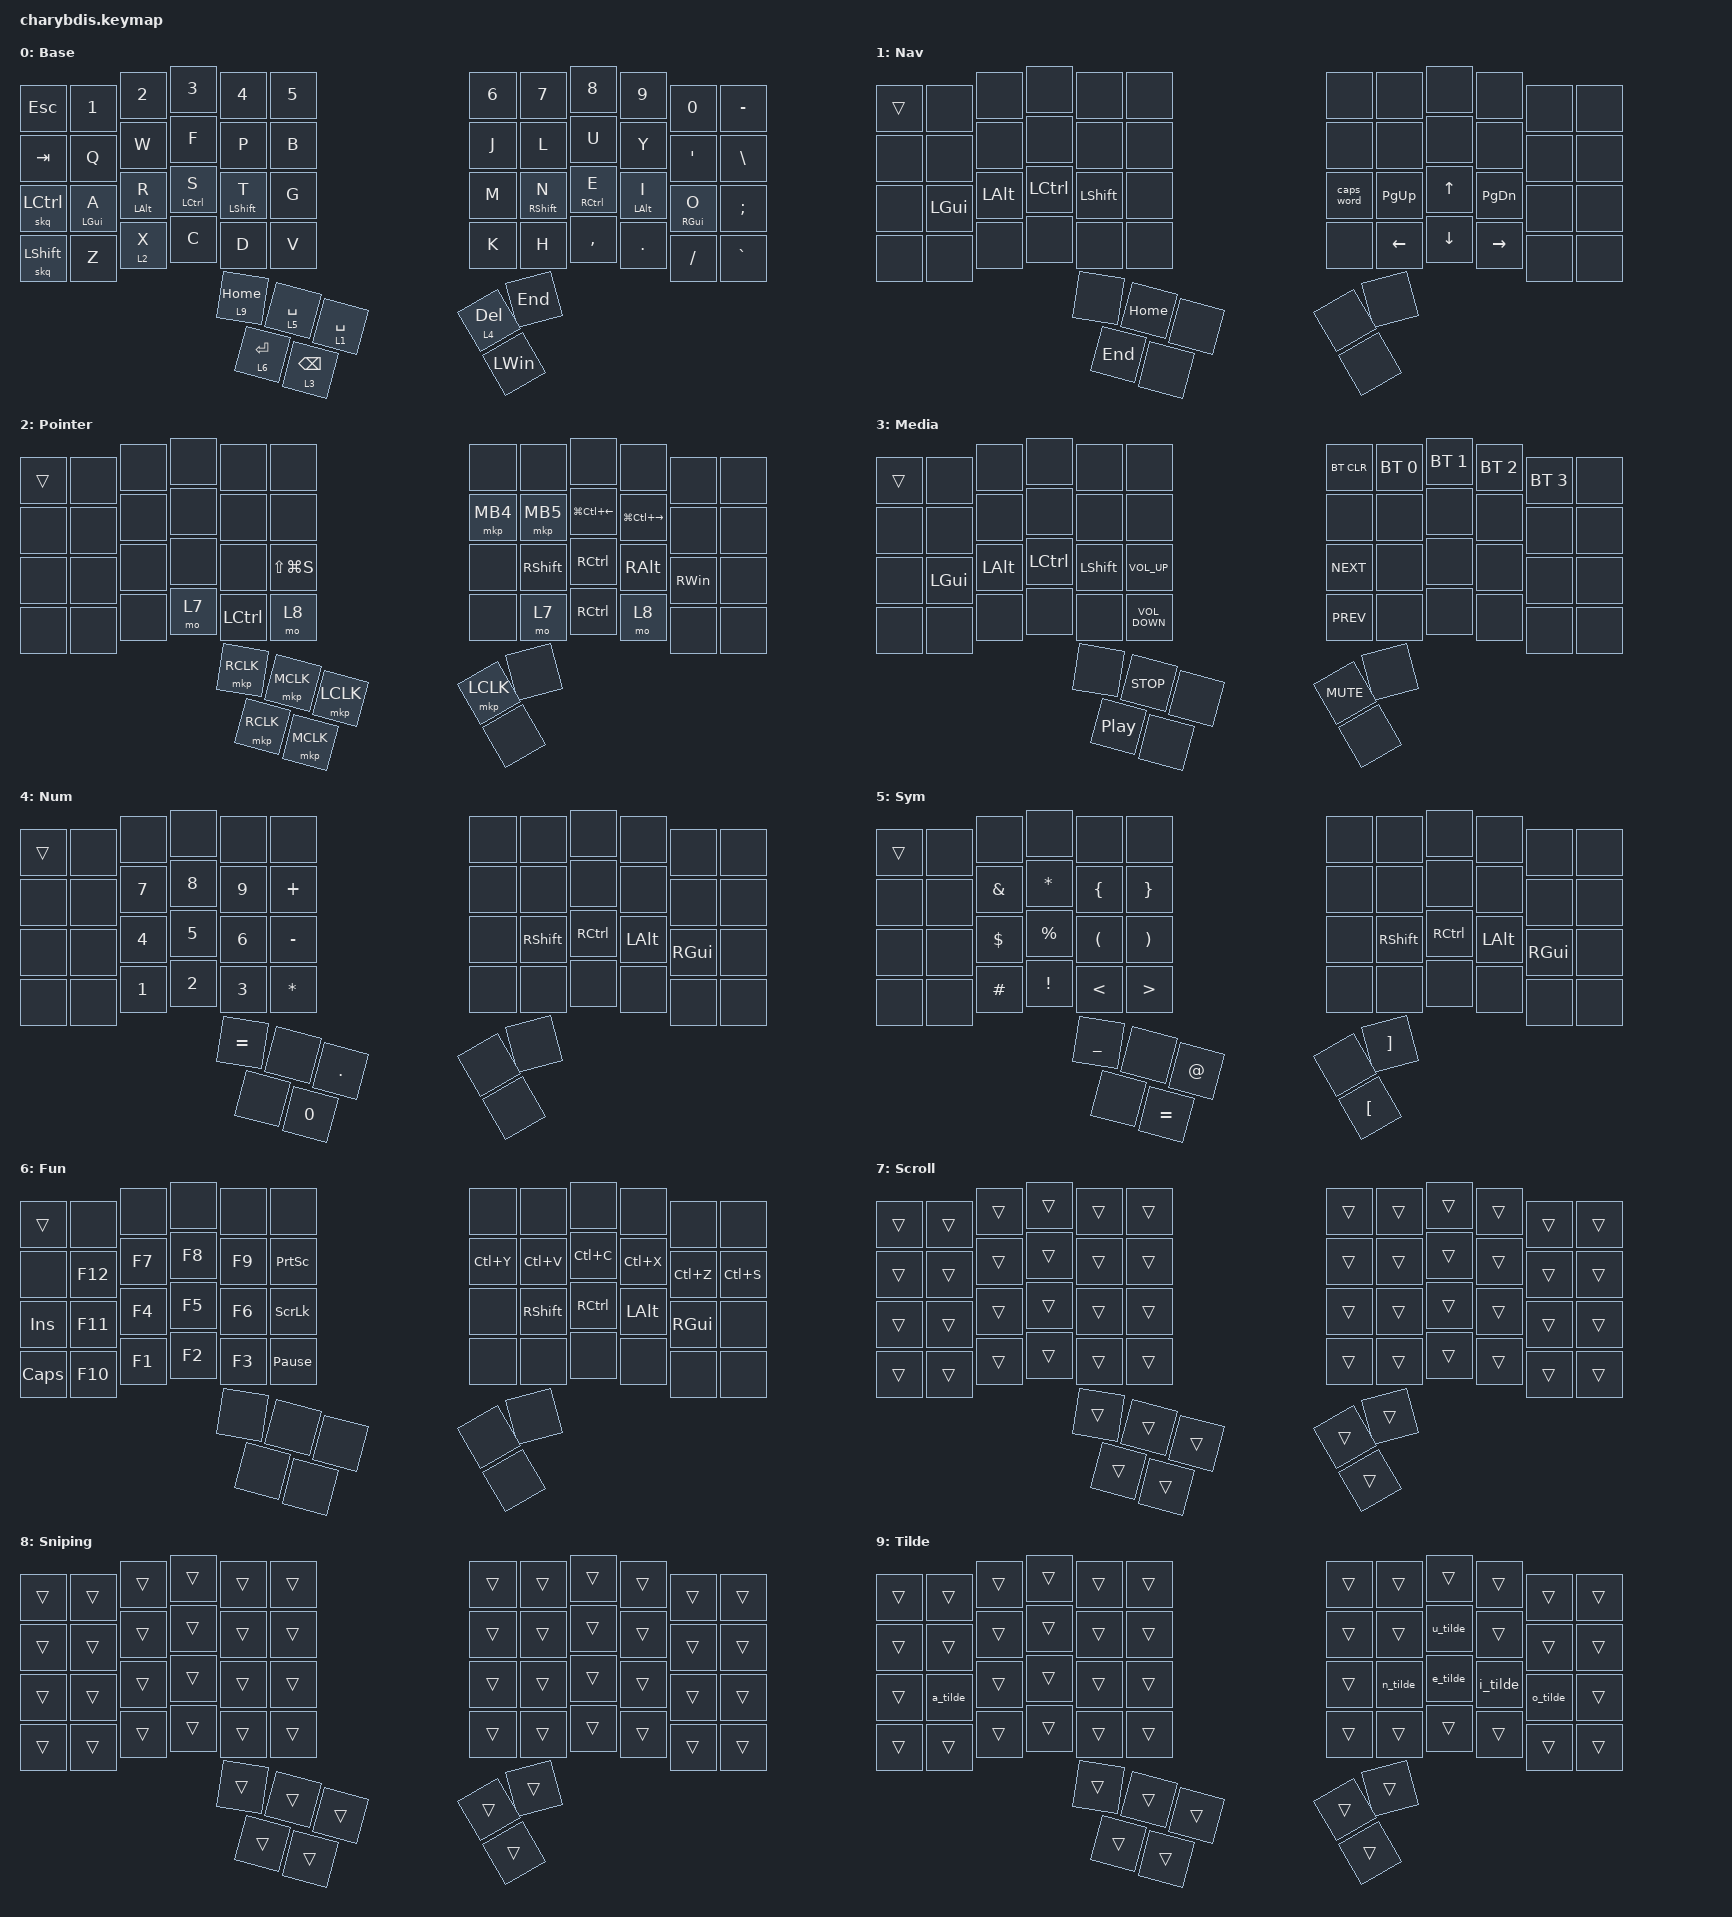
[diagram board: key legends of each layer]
#include <dt-bindings/zmk/mouse.h>
#include <behaviors/mouse_keys.dtsi>
#include <dt-bindings/zmk/modifiers.h>
#include <behaviors.dtsi>
#include <dt-bindings/zmk/bt.h>
#include <dt-bindings/zmk/keys.h>
#include <dt-bindings/zmk/pointing.h>

/ {
    chosen { zmk,physical-layout = &charybdis_6col_layout; };
};

// ╔══════════════════════════════════════════════════════════════════════════════╗
// ║ CONFIGURATION                                                               ║
// ╚══════════════════════════════════════════════════════════════════════════════╝

&lt {
    quick-tap-ms = <175>;
    flavor = "balanced";
    tapping-term-ms = <200>;
};

// Layer definitions (must match charybdis_layers.h for trackball processors)

#define BASE    0
#define NAV     1
#define POINTER 2
#define MEDIA   3
#define NUM     4
#define SYM     5
#define FUN     6
#define SCROLL  7
#define SNIPING 8

// ╔══════════════════════════════════════════════════════════════════════════════╗
// ║ BEHAVIORS                                                                   ║
// ╚══════════════════════════════════════════════════════════════════════════════╝

/ {
    behaviors {
        // Home row mods - Left hand (for Shift on T)

        hml: home_row_mod_left {
            compatible = "zmk,behavior-hold-tap";
            #binding-cells = <2>;
            flavor = "balanced";
            require-prior-idle-ms = <200>;
            tapping-term-ms = <280>;
            quick-tap-ms = <175>;
            bindings = <&kp>, <&kp>;

            hold-trigger-key-positions = <0 1 2 3 4 5 12 13 14 15 16 17 24 25 26 27 28 29 36 37 38 39 40 41 48 49 50 53 54>;
            hold-trigger-on-release;
        };

        // Home row mods - Right hand (for Shift on N)

        hmr: home_row_mod_right {
            compatible = "zmk,behavior-hold-tap";
            #binding-cells = <2>;
            flavor = "balanced";
            require-prior-idle-ms = <200>;
            tapping-term-ms = <280>;
            quick-tap-ms = <175>;
            bindings = <&kp>, <&kp>;

            hold-trigger-key-positions = <6 7 8 9 10 11 18 19 20 21 22 23 30 31 32 33 34 35 42 43 44 45 46 47 51 52 55>;
            hold-trigger-on-release;
        };

        // Left home row - relaxed timing for high-frequency keys (A, R, S)

        lhome_row: lhome_row {
            compatible = "zmk,behavior-hold-tap";
            #binding-cells = <2>;
            flavor = "balanced";
            require-prior-idle-ms = <150>;
            tapping-term-ms = <200>;
            quick-tap-ms = <200>;
            bindings = <&kp>, <&kp>;

            hold-trigger-key-positions = <0 1 2 3 4 5 12 13 14 15 16 17 24 25 26 27 28 29 36 37 38 39 40 41 48 49 50 53 54>;
            hold-trigger-on-release;
            retro-tap;
            label = "LHOME_ROW";
        };

        // Right home row - relaxed timing for high-frequency keys (E, I, O)

        rhome_row: rhome_row {
            compatible = "zmk,behavior-hold-tap";
            #binding-cells = <2>;
            flavor = "balanced";
            require-prior-idle-ms = <150>;
            tapping-term-ms = <200>;
            quick-tap-ms = <200>;
            bindings = <&kp>, <&kp>;

            hold-trigger-key-positions = <6 7 8 9 10 11 18 19 20 21 22 23 30 31 32 33 34 35 42 43 44 45 46 47 51 52 55>;
            hold-trigger-on-release;
            retro-tap;
            label = "RHOME_ROW";
        };

        skq: skq {
            compatible = "zmk,behavior-sticky-key";
            label = "SKQ";
            bindings = <&kp>;
            #binding-cells = <1>;
            release-after-ms = <1020>;
            quick-release;
            ignore-modifiers;
        };
    };

    // ╔══════════════════════════════════════════════════════════════════════════════╗
    // ║ COMBOS                                                                      ║
    // ╚══════════════════════════════════════════════════════════════════════════════╝

    combos {
        compatible = "zmk,combos";

        // Studio Unlock - all three right thumb keys

        combo_studio_unlock {
            timeout-ms = <50>;
            key-positions = <53 54 55>;
            bindings = <&studio_unlock>;
        };

        // C# operator combos
        // Row 3 (bottom): 36=Z 37=X 38=C 39=D 40=V | 41=K 42=H 43=, 44=. 45=/
        // Row 2 (home):   24=A 25=R 26=S 27=T 28=G | 29=M 30=N 31=E 32=I 33=O
        // => (fat arrow) - D + V (left bottom, index + inner)

        combo_fat_arrow {
            timeout-ms = <40>;
            key-positions = <40 41>;
            bindings = <&fat_arrow>;
        };

        // != (not equal) - H + , (right bottom, index + middle)

        combo_not_equal {
            timeout-ms = <40>;
            key-positions = <42 43>;
            bindings = <&not_equal>;
        };

        // == (double equal) - N + E (right home, index + middle)

        combo_dbl_equal {
            timeout-ms = <40>;
            key-positions = <30 31>;
            bindings = <&dbl_equal>;
        };

        // && (logical AND) - X + C (left bottom, ring + middle)
        // || (logical OR) - , + . (right bottom, middle + ring)
        // ?. (null-conditional) - . + / (right bottom, ring + pinky)
        // ?? (null-coalescing) - I + O (right home, ring + pinky)
        // // (line comment) - C + D (left bottom, middle + index)
        // CAPSLOCK - both home row shift keys (T + N)
    };

    // ╔══════════════════════════════════════════════════════════════════════════════╗
    // ║ KEYMAP                                                                      ║
    // ╚══════════════════════════════════════════════════════════════════════════════╝

    macros {
        pound: pound {
            compatible = "zmk,behavior-macro";
            #binding-cells = <0>;
            bindings =
                <&macro_press>,
                <&kp LEFT_ALT>,
                <&macro_tap>,
                <&kp KP_NUMBER_0 &kp KP_NUMBER_1 &kp KP_NUMBER_6 &kp KP_NUMBER_3>,
                <&macro_release>,
                <&kp LEFT_ALT>;

            label = "POUND";
        };

        euro: euro {
            compatible = "zmk,behavior-macro";
            #binding-cells = <0>;
            bindings =
                <&macro_press>,
                <&kp LEFT_ALT>,
                <&macro_tap>,
                <&kp KP_NUMBER_0 &kp KP_NUMBER_1 &kp KP_NUMBER_2 &kp KP_NUMBER_8>,
                <&macro_release>,
                <&kp LEFT_ALT>;

            label = "EURO";
        };

        // C# operator macros

        fat_arrow: fat_arrow {
            compatible = "zmk,behavior-macro";
            #binding-cells = <0>;
            bindings = <&kp EQUAL &kp GT>;
            label = "FAT_ARROW";
        };

        not_equal: not_equal {
            compatible = "zmk,behavior-macro";
            #binding-cells = <0>;
            bindings = <&kp EXCL &kp EQUAL>;
            label = "NOT_EQUAL";
        };

        dbl_equal: dbl_equal {
            compatible = "zmk,behavior-macro";
            #binding-cells = <0>;
            bindings = <&kp EQUAL &kp EQUAL>;
            label = "DBL_EQUAL";
        };

        a_tilde: a_tilde {
            compatible = "zmk,behavior-macro";
            #binding-cells = <0>;
            bindings =
                <&macro_press>,
                <&kp LEFT_ALT>,
                <&macro_tap>,
                <&kp KP_NUMBER_1 &kp KP_NUMBER_6 &kp KP_NUMBER_0>,
                <&macro_release>,
                <&kp LEFT_ALT>;

            label = "A_TILDE";
        };

        e_tilde: e_tilde {
            compatible = "zmk,behavior-macro";
            #binding-cells = <0>;
            bindings =
                <&macro_press>,
                <&kp LEFT_ALT>,
                <&macro_tap>,
                <&kp KP_NUMBER_1 &kp KP_NUMBER_3 &kp KP_NUMBER_0>,
                <&macro_release>,
                <&kp LEFT_ALT>;

            label = "E_TILDE";
        };

        i_tilde: i_tilde {
            compatible = "zmk,behavior-macro";
            #binding-cells = <0>;
            bindings =
                <&macro_press>,
                <&kp LEFT_ALT>,
                <&macro_tap>,
                <&kp KP_NUMBER_1 &kp KP_NUMBER_6 &kp KP_NUMBER_1>,
                <&macro_release>,
                <&kp LEFT_ALT>;

            label = "I_TILDE";
        };

        o_tilde: o_tilde {
            compatible = "zmk,behavior-macro";
            #binding-cells = <0>;
            bindings =
                <&macro_press>,
                <&kp LEFT_ALT>,
                <&macro_tap>,
                <&kp KP_NUMBER_1 &kp KP_NUMBER_6 &kp KP_NUMBER_2>,
                <&macro_release>,
                <&kp LEFT_ALT>;

            label = "O_TILDE";
        };

        u_tilde: u_tilde {
            compatible = "zmk,behavior-macro";
            #binding-cells = <0>;
            bindings =
                <&macro_press>,
                <&kp LEFT_ALT>,
                <&macro_tap>,
                <&kp KP_NUMBER_1 &kp KP_NUMBER_6 &kp KP_NUMBER_3>,
                <&macro_release>,
                <&kp LEFT_ALT>;

            label = "U_TILDE";
        };

        n_tilde: n_tilde {
            compatible = "zmk,behavior-macro";
            #binding-cells = <0>;
            bindings =
                <&macro_press>,
                <&kp LEFT_ALT>,
                <&macro_tap>,
                <&kp KP_NUMBER_1 &kp KP_NUMBER_6 &kp KP_NUMBER_4>,
                <&macro_release>,
                <&kp LEFT_ALT>;

            label = "N_TILDE";
        };
    };

    keymap {
        compatible = "zmk,keymap";

        // ┌──────────────────────────────────────────────────────────────────────┐
        // │ BASE - Colemak-DH with home row mods (GACS)                          │
        // │ Unused keys (top row + outer columns) available for extras            │
        // └──────────────────────────────────────────────────────────────────────┘

        base_layer {
            display-name = "Base";
            bindings = <
&kp ESC     &kp N1             &kp N2             &kp N3              &kp N4              &kp N5        &kp N6        &kp N7              &kp N8              &kp N9             &kp N0             &kp MINUS
&kp TAB     &kp Q              &kp W              &kp F               &kp P               &kp B         &kp J         &kp L               &kp U               &kp Y              &kp SQT            &kp BACKSLASH
&skq LCTRL  &lhome_row LGUI A  &lhome_row LALT R  &lhome_row LCTRL S  &lhome_row LSHFT T  &kp G         &kp M         &rhome_row RSHFT N  &rhome_row RCTRL E  &rhome_row LALT I  &rhome_row RGUI O  &kp SEMI
&skq LSHFT  &kp Z              &lt 2 X            &kp C               &kp D               &kp V         &kp K         &kp H               &kp COMMA           &kp DOT            &kp FSLH           &kp GRAVE
                                                  &lt 1 SPACE         &lt 3 BACKSPACE     &lt 9 HOME    &lt 5 SPACE   &lt 6 RET
                                                                      &kp LWIN            &kp END       &lt 4 DELETE
            >;
        };

        // ┌──────────────────────────────────────────────────────────────────────┐
        // │ NAV - Navigation + editing                                            │
        // └──────────────────────────────────────────────────────────────────────┘

        nav_layer {
            display-name = "Nav";
            bindings = <
&trans  &none     &none     &none      &none       &none    &none       &none      &none     &none      &none  &none
&none   &none     &none     &none      &none       &none    &none       &none      &none     &none      &none  &none
&none   &kp LGUI  &kp LALT  &kp LCTRL  &kp LSHIFT  &none    &caps_word  &kp PG_UP  &kp UP    &kp PG_DN  &none  &none
&none   &none     &none     &none      &none       &none    &none       &kp LEFT   &kp DOWN  &kp RIGHT  &none  &none
                            &none      &none       &none    &kp HOME    &kp END
                                       &none       &none    &none
            >;
        };

        // ┌──────────────────────────────────────────────────────────────────────┐
        // │ POINTER - Mouse buttons + trackball (scroll/snipe via held layers)    │
        // └──────────────────────────────────────────────────────────────────────┘

        pointer_layer {
            display-name = "Pointer";
            bindings = <
&trans  &none  &none  &none      &none      &none            &none      &none       &none             &none              &none     &none
&none   &none  &none  &none      &none      &none            &mkp MB4   &mkp MB5    &kp LG(LC(LEFT))  &kp LG(LC(RIGHT))  &none     &none
&none   &none  &none  &none      &none      &kp LS(LG(S))    &none      &kp RSHIFT  &kp RCTRL         &kp RALT           &kp RWIN  &none
&none   &none  &none  &mo 7      &kp LCTRL  &mo 8            &none      &mo 7       &kp RCTRL         &mo 8              &none     &none
                      &mkp LCLK  &mkp MCLK  &mkp RCLK        &mkp MCLK  &mkp RCLK
                                 &none      &none            &mkp LCLK
            >;
        };

        // ┌──────────────────────────────────────────────────────────────────────┐
        // │ MEDIA - Media controls + Bluetooth                                    │
        // └──────────────────────────────────────────────────────────────────────┘

        media_layer {
            display-name = "Media";
            bindings = <
&trans  &none     &none     &none      &none       &none                &bt BT_CLR  &bt BT_SEL 0      &bt BT_SEL 1  &bt BT_SEL 2  &bt BT_SEL 3  &none
&none   &none     &none     &none      &none       &none                &none       &none             &none         &none         &none         &none
&none   &kp LGUI  &kp LALT  &kp LCTRL  &kp LSHIFT  &kp C_VOLUME_UP      &kp C_NEXT  &none             &none         &none         &none         &none
&none   &none     &none     &none      &none       &kp C_VOLUME_DOWN    &kp C_PREV  &none             &none         &none         &none         &none
                            &none      &none       &none                &kp C_STOP  &kp C_PLAY_PAUSE
                                       &none       &none                &kp C_MUTE
            >;
        };

        // ┌──────────────────────────────────────────────────────────────────────┐
        // │ NUM - Number pad                                                      │
        // └──────────────────────────────────────────────────────────────────────┘

        num_layer {
            display-name = "Num";
            bindings = <
&trans  &none  &none   &none    &none   &none        &none  &none       &none      &none     &none     &none
&none   &none  &kp N7  &kp N8   &kp N9  &kp PLUS     &none  &none       &none      &none     &none     &none
&none   &none  &kp N4  &kp N5   &kp N6  &kp MINUS    &none  &kp RSHIFT  &kp RCTRL  &kp LALT  &kp RGUI  &none
&none   &none  &kp N1  &kp N2   &kp N3  &kp ASTRK    &none  &none       &none      &none     &none     &none
                       &kp DOT  &kp N0  &kp EQUAL    &none  &none
                                &none   &none        &none
            >;
        };

        // ┌──────────────────────────────────────────────────────────────────────┐
        // │ SYM - C# optimized: brackets paired on index finger                   │
        // │ Top=braces, Home=parens, Bottom=angles. = on thumb for assignment.    │
        // └──────────────────────────────────────────────────────────────────────┘

        sym_layer {
            display-name = "Sym";
            bindings = <
&trans  &none  &none     &none      &none             &none                &none  &none       &none      &none     &none     &none
&none   &none  &kp AMPS  &kp ASTRK  &kp LBRC          &kp RBRC             &none  &none       &none      &none     &none     &none
&none   &none  &kp DLLR  &kp PRCNT  &kp LPAR          &kp RPAR             &none  &kp RSHIFT  &kp RCTRL  &kp LALT  &kp RGUI  &none
&none   &none  &kp HASH  &kp EXCL   &kp LT            &kp GT               &none  &none       &none      &none     &none     &none
                         &kp AT     &kp EQUAL         &kp UNDER            &none  &none
                                    &kp LEFT_BRACKET  &kp RIGHT_BRACKET    &none
            >;
        };

        // ┌──────────────────────────────────────────────────────────────────────┐
        // │ FUN - Function keys                                                   │
        // └──────────────────────────────────────────────────────────────────────┘

        fun_layer {
            display-name = "Fun";
            bindings = <
&trans    &none    &none   &none   &none   &none              &none      &none       &none      &none      &none      &none
&none     &kp F12  &kp F7  &kp F8  &kp F9  &kp PSCRN          &kp LC(Y)  &kp LC(V)   &kp LC(C)  &kp LC(X)  &kp LC(Z)  &kp LC(S)
&kp INS   &kp F11  &kp F4  &kp F5  &kp F6  &kp SLCK           &none      &kp RSHIFT  &kp RCTRL  &kp LALT   &kp RGUI   &none
&kp CAPS  &kp F10  &kp F1  &kp F2  &kp F3  &kp PAUSE_BREAK    &none      &none       &none      &none      &none      &none
                           &none   &none   &none              &none      &none
                                   &none   &none              &none
            >;
        };

        // ┌──────────────────────────────────────────────────────────────────────┐
        // │ SCROLL - Trackball becomes scroll wheel                               │
        // └──────────────────────────────────────────────────────────────────────┘

        scroll_layer {
            display-name = "Scroll";
            bindings = <
&trans  &trans  &trans  &trans  &trans  &trans    &trans  &trans  &trans  &trans  &trans  &trans
&trans  &trans  &trans  &trans  &trans  &trans    &trans  &trans  &trans  &trans  &trans  &trans
&trans  &trans  &trans  &trans  &trans  &trans    &trans  &trans  &trans  &trans  &trans  &trans
&trans  &trans  &trans  &trans  &trans  &trans    &trans  &trans  &trans  &trans  &trans  &trans
                        &trans  &trans  &trans    &trans  &trans
                                &trans  &trans    &trans
            >;
        };

        // ┌──────────────────────────────────────────────────────────────────────┐
        // │ SNIPING - Trackball precision mode (reduced DPI)                      │
        // └──────────────────────────────────────────────────────────────────────┘

        sniping_layer {
            display-name = "Sniping";
            bindings = <
&trans  &trans  &trans  &trans  &trans  &trans    &trans  &trans  &trans  &trans  &trans  &trans
&trans  &trans  &trans  &trans  &trans  &trans    &trans  &trans  &trans  &trans  &trans  &trans
&trans  &trans  &trans  &trans  &trans  &trans    &trans  &trans  &trans  &trans  &trans  &trans
&trans  &trans  &trans  &trans  &trans  &trans    &trans  &trans  &trans  &trans  &trans  &trans
                        &trans  &trans  &trans    &trans  &trans
                                &trans  &trans    &trans
            >;
        };

        tilde_layer {
            display-name = "Tilde";
            bindings = <
&trans  &trans    &trans  &trans  &trans  &trans    &trans  &trans    &trans    &trans    &trans    &trans
&trans  &trans    &trans  &trans  &trans  &trans    &trans  &trans    &u_tilde  &trans    &trans    &trans
&trans  &a_tilde  &trans  &trans  &trans  &trans    &trans  &n_tilde  &e_tilde  &i_tilde  &o_tilde  &trans
&trans  &trans    &trans  &trans  &trans  &trans    &trans  &trans    &trans    &trans    &trans    &trans
                          &trans  &trans  &trans    &trans  &trans
                                  &trans  &trans    &trans
            >;
        };
    };
};
